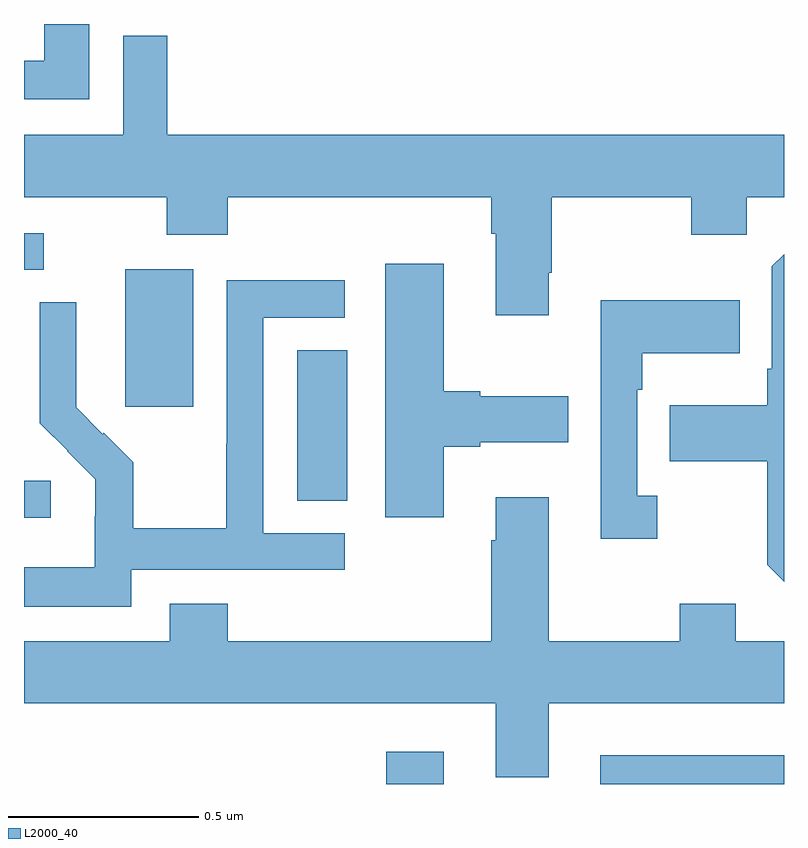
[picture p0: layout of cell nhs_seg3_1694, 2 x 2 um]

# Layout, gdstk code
import gdstk
lib = gdstk.Library(unit=1e-6, precision=1e-09)
def R(c, l, rs):  # rectangles x0, y0, x1, y1
    for r in rs: c.add(gdstk.rectangle(r[:2], r[2:], *l))
def P(c, l, *ps):  # polygons
    for p in ps: c.add(gdstk.Polygon(p, *l))
L2000_40 = (2000, 40)

nhs_seg3_1694 = lib.new_cell('nhs_seg3_1694')
R(nhs_seg3_1694, L2000_40, [(132.953,671.4,133.105,671.485), (133.517,671.4,134,671.476), (132,672.101,132.07,672.198), (132.719,672.145,132.85,672.542), (132.266,672.393,132.445,672.754), (132,672.753,132.052,672.849)])
P(nhs_seg3_1694, L2000_40, [(132.172,673.4),(132.053,673.4),(132.053,673.303),(132,673.303),(132,673.202),(132.172,673.202)],
  [(133.381,672.745),(133.389,672.745),(133.389,672.944),(133.756,672.944),(133.756,672.845),(133.902,672.845),(133.902,672.944),(134,672.944),(134,673.108),(132.377,673.108),(132.377,673.369),(132.261,673.369),(132.261,673.108),(132,673.108),(132,672.944),(132.376,672.944),(132.376,672.845),(132.536,672.845),(132.536,672.944),(133.229,672.944),(133.229,672.848),(133.241,672.848),(133.241,672.633),(133.381,672.633)],
  [(134,672.794),(133.968,672.762),(133.968,672.493),(133.956,672.493),(133.956,672.397),(133.699,672.397),(133.699,672.25),(133.956,672.25),(133.956,671.977),(134,671.932)],
  [(133.105,672.287),(133.201,672.287),(133.201,672.299),(133.432,672.299),(133.432,672.421),(133.201,672.421),(133.201,672.434),(133.105,672.434),(133.105,672.769),(132.95,672.769),(132.95,672.102),(133.105,672.102)],
  [(132.282,671.964),(132.844,671.964),(132.844,672.06),(132.63,672.06),(132.63,672.627),(132.844,672.627),(132.844,672.726),(132.534,672.726),(132.534,672.296),(132.532,672.296),(132.532,672.073),(132.287,672.073),(132.287,672.247),(132.21,672.324),(132.207,672.321),(132.137,672.392),(132.137,672.514),(132.138,672.514),(132.138,672.668),(132.042,672.668),(132.042,672.35),(132.115,672.277),(132.114,672.276),(132.188,672.202),(132.188,672.105),(132.186,672.105),(132.186,671.971),(132,671.971),(132,671.867),(132.282,671.867)],
  [(133.666,672.158),(133.614,672.158),(133.614,672.437),(133.627,672.437),(133.627,672.533),(133.883,672.533),(133.883,672.673),(133.518,672.673),(133.518,672.045),(133.666,672.045)],
  [(133.381,671.612),(134,671.612),(134,671.776),(133.873,671.776),(133.873,671.875),(133.726,671.875),(133.726,671.776),(133.381,671.776),(133.381,672.154),(133.241,672.154),(133.241,672.041),(133.229,672.041),(133.229,671.776),(132.536,671.776),(132.536,671.875),(132.383,671.875),(132.383,671.776),(132,671.776),(132,671.612),(133.241,671.612),(133.241,671.418),(133.381,671.418)])

lib.write_gds('nhs_seg3_1694.gds')
